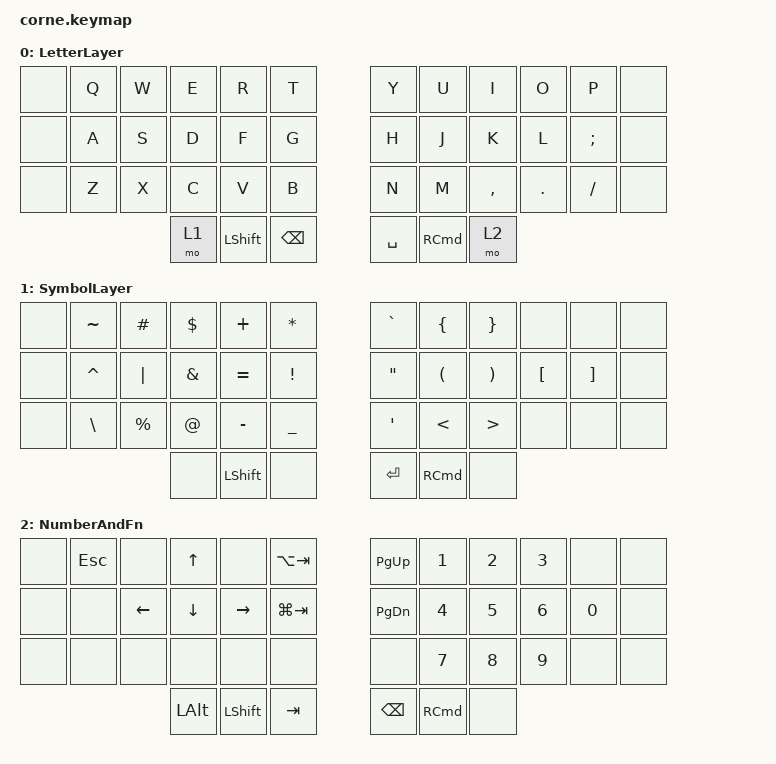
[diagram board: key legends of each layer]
#include <behaviors.dtsi>
#include <dt-bindings/zmk/keys.h>

/ {
    keymap {
        compatible = "zmk,keymap";

        LetterLayer {
            bindings = <
&none  &kp Q  &kp W  &kp E  &kp R           &kp T            &kp Y      &kp U              &kp I      &kp O    &kp P          &none
&none  &kp A  &kp S  &kp D  &kp F           &kp G            &kp H      &kp J              &kp K      &kp L    &kp SEMICOLON  &none
&none  &kp Z  &kp X  &kp C  &kp V           &kp B            &kp N      &kp M              &kp COMMA  &kp DOT  &kp FSLH       &none
                     &mo 1  &kp LEFT_SHIFT  &kp BACKSPACE    &kp SPACE  &kp RIGHT_COMMAND  &mo 2
            >;
        };

        SymbolLayer {
            bindings = <
&none  &kp TILDE      &kp HASH     &kp DOLLAR     &kp PLUS        &kp ASTERISK       &kp GRAVE          &kp LEFT_BRACE        &kp RIGHT_BRACE        &none             &none              &none
&none  &kp CARET      &kp PIPE     &kp AMPERSAND  &kp EQUAL       &kp EXCLAMATION    &kp DOUBLE_QUOTES  &kp LEFT_PARENTHESIS  &kp RIGHT_PARENTHESIS  &kp LEFT_BRACKET  &kp RIGHT_BRACKET  &none
&none  &kp BACKSLASH  &kp PERCENT  &kp AT_SIGN    &kp MINUS       &kp UNDERSCORE     &kp SQT            &kp LESS_THAN         &kp GREATER_THAN       &none             &none              &none
                                   &none          &kp LEFT_SHIFT  &none              &kp RETURN         &kp RIGHT_COMMAND     &none
            >;
        };

        NumberAndFn {
            bindings = <
&none  &kp ESCAPE  &none     &kp UP_ARROW    &none            &kp LA(TAB)    &kp PAGE_UP    &kp NUMBER_1       &kp NUMBER_2  &kp NUMBER_3  &none         &none
&none  &none       &kp LEFT  &kp DOWN_ARROW  &kp RIGHT_ARROW  &kp LG(TAB)    &kp PAGE_DOWN  &kp NUMBER_4       &kp NUMBER_5  &kp NUMBER_6  &kp NUMBER_0  &none
&none  &none       &none     &none           &none            &none          &none          &kp NUMBER_7       &kp NUMBER_8  &kp NUMBER_9  &none         &none
                             &kp LEFT_ALT    &kp LEFT_SHIFT   &kp TAB        &kp BACKSPACE  &kp RIGHT_COMMAND  &none
            >;
        };
    };
};
